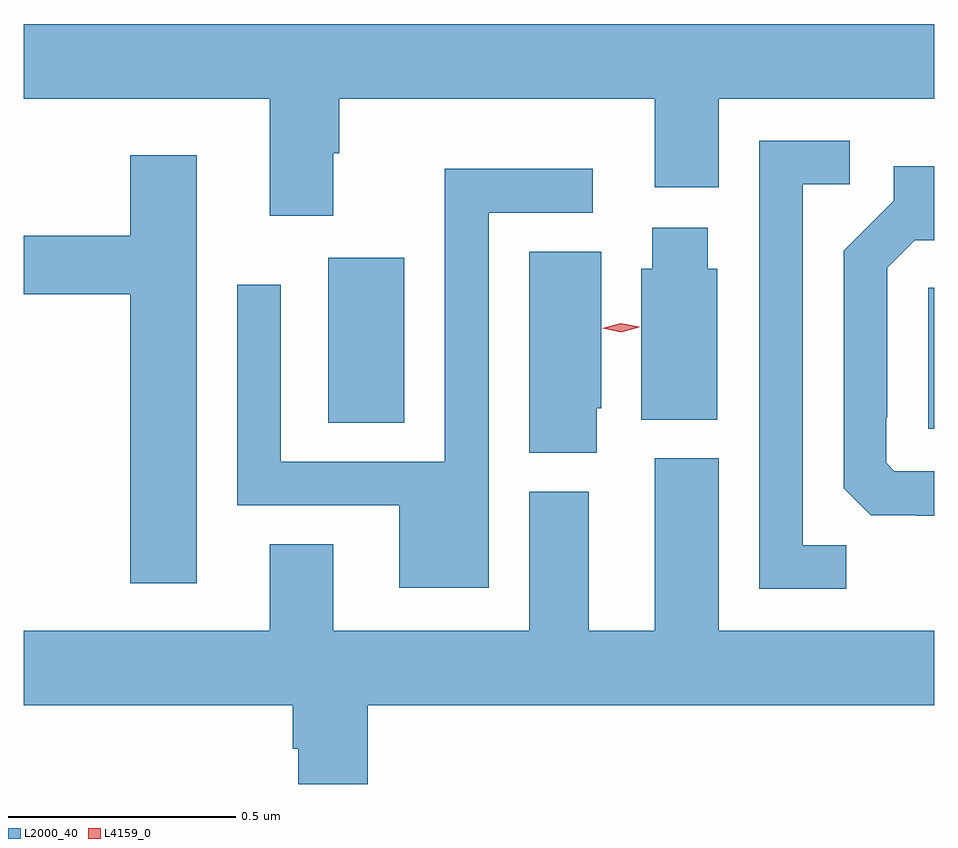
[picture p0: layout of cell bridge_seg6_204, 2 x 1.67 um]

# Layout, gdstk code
import gdstk
lib = gdstk.Library(unit=1e-6, precision=1e-09)
def R(c, l, rs):  # rectangles x0, y0, x1, y1
    for r in rs: c.add(gdstk.rectangle(r[:2], r[2:], *l))
def P(c, l, *ps):  # polygons
    for p in ps: c.add(gdstk.Polygon(p, *l))
L2000_40 = (2000, 40)
L4159_0 = (4159, 0)

bridge_seg6_204 = lib.new_cell('bridge_seg6_204')
R(bridge_seg6_204, L2000_40, [(354.693,943.947,354.706,944.257), (353.375,943.96,353.542,944.323)])
P(bridge_seg6_204, L2000_40, [(353.386,944.552),(353.399,944.552),(353.399,944.672),(354.092,944.672),(354.092,944.478),(354.232,944.478),(354.232,944.672),(354.706,944.672),(354.706,944.836),(352.706,944.836),(352.706,944.672),(353.246,944.672),(353.246,944.415),(353.386,944.415)],
  [(354.513,943.691),(354.417,943.691),(354.417,944.484),(354.52,944.484),(354.52,944.58),(354.321,944.58),(354.321,943.596),(354.513,943.596)],
  [(353.086,944.548),(352.94,944.548),(352.94,944.371),(352.706,944.371),(352.706,944.242),(352.94,944.242),(352.94,943.608),(353.086,943.608)],
  [(354.706,943.854),(354.618,943.854),(354.6,943.872),(354.6,943.972),(354.603,943.972),(354.603,944.301),(354.663,944.361),(354.706,944.361),(354.706,944.524),(354.617,944.524),(354.617,944.448),(354.507,944.338),(354.507,943.816),(354.566,943.757),(354.667,943.757),(354.667,943.756),(354.706,943.756)],
  [(353.727,944.421),(353.956,944.421),(353.956,944.518),(353.631,944.518),(353.631,943.875),(353.271,943.875),(353.271,944.263),(353.175,944.263),(353.175,943.779),(353.531,943.779),(353.531,943.598),(353.727,943.598)],
  [(354.229,944.298),(354.208,944.298),(354.208,944.389),(354.086,944.389),(354.086,944.298),(354.062,944.298),(354.062,943.967),(354.229,943.967)],
  [(353.965,943.992),(353.974,943.992),(353.974,944.336),(353.816,944.336),(353.816,943.894),(353.965,943.894)],
  [(353.462,943.34),(354.706,943.34),(354.706,943.504),(354.232,943.504),(354.232,943.882),(354.092,943.882),(354.092,943.504),(353.947,943.504),(353.947,943.809),(353.816,943.809),(353.816,943.504),(353.386,943.504),(353.386,943.694),(353.246,943.694),(353.246,943.504),(352.706,943.504),(352.706,943.34),(353.297,943.34),(353.297,943.244),(353.309,943.244),(353.309,943.167),(353.462,943.167)])
P(bridge_seg6_204, L4159_0, [(354.018,944.159),(353.977,944.168),(353.977,944.168),(353.977,944.168),(354.017,944.179),(354.058,944.171),(354.058,944.17),(354.058,944.17)])

lib.write_gds('bridge_seg6_204.gds')
